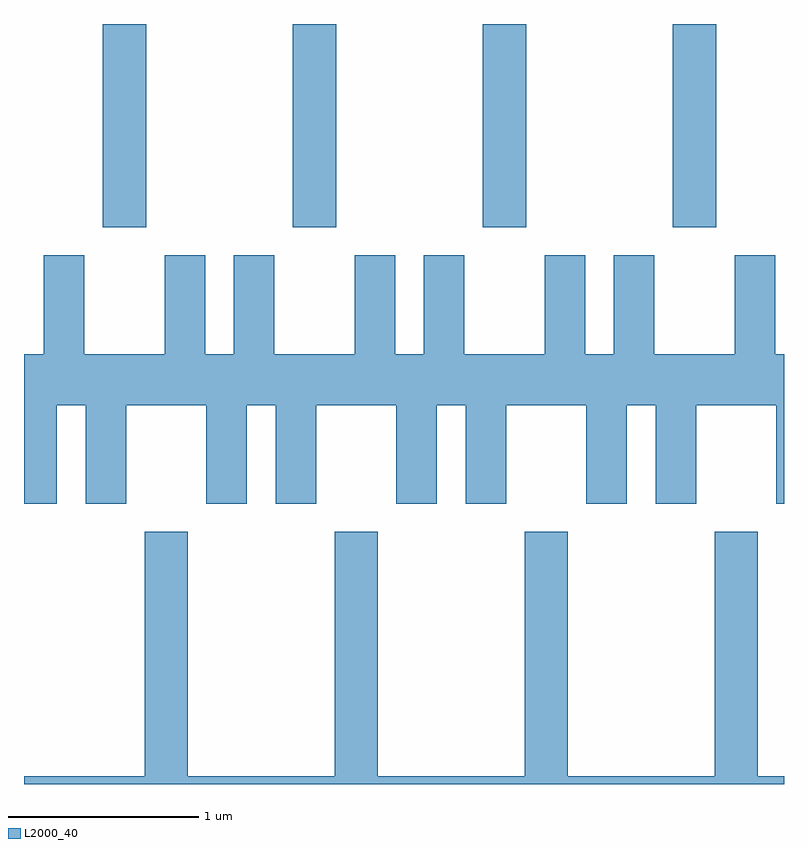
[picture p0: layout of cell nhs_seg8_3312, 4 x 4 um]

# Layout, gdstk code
import gdstk
lib = gdstk.Library(unit=1e-6, precision=1e-09)
def R(c, l, rs):  # rectangles x0, y0, x1, y1
    for r in rs: c.add(gdstk.rectangle(r[:2], r[2:], *l))
def A(c, l, x, y, w, h, nx, ny, dx, dy):  # array of equal rectangles
    R(c, l, [(x+i*dx, y+j*dy, x+i*dx+w, y+j*dy+h) for i in range(nx) for j in range(ny)])
def P(c, l, *ps):  # polygons
    for p in ps: c.add(gdstk.Polygon(p, *l))
L2000_40 = (2000, 40)

nhs_seg8_3312 = lib.new_cell('nhs_seg8_3312')
A(nhs_seg8_3312, L2000_40, 284.026, 1917.271, 0.228, 1.071, 4, 1, 1, 0)
P(nhs_seg8_3312, L2000_40, [(283.929,1917.124),(283.716,1917.124),(283.716,1916.604),(283.611,1916.604),(283.611,1915.816),(283.784,1915.816),(283.784,1916.336),(283.936,1916.336),(283.936,1915.816),(284.149,1915.816),(284.149,1916.336),(284.571,1916.336),(284.571,1915.816),(284.784,1915.816),(284.784,1916.336),(284.936,1916.336),(284.936,1915.816),(285.149,1915.816),(285.149,1916.336),(285.571,1916.336),(285.571,1915.816),(285.784,1915.816),(285.784,1916.336),(285.936,1916.336),(285.936,1915.816),(286.149,1915.816),(286.149,1916.336),(286.571,1916.336),(286.571,1915.816),(286.784,1915.816),(286.784,1916.336),(286.936,1916.336),(286.936,1915.816),(287.149,1915.816),(287.149,1916.336),(287.571,1916.336),(287.571,1915.816),(287.611,1915.816),(287.611,1916.604),(287.564,1916.604),(287.564,1917.124),(287.351,1917.124),(287.351,1916.604),(286.929,1916.604),(286.929,1917.124),(286.716,1917.124),(286.716,1916.604),(286.564,1916.604),(286.564,1917.124),(286.351,1917.124),(286.351,1916.604),(285.929,1916.604),(285.929,1917.124),(285.716,1917.124),(285.716,1916.604),(285.564,1916.604),(285.564,1917.124),(285.351,1917.124),(285.351,1916.604),(284.929,1916.604),(284.929,1917.124),(284.716,1917.124),(284.716,1916.604),(284.564,1916.604),(284.564,1917.124),(284.351,1917.124),(284.351,1916.604),(283.929,1916.604)],
  [(286.474,1915.669),(286.246,1915.669),(286.246,1914.384),(285.474,1914.384),(285.474,1915.669),(285.246,1915.669),(285.246,1914.384),(284.474,1914.384),(284.474,1915.669),(284.246,1915.669),(284.246,1914.384),(283.611,1914.384),(283.611,1914.342),(287.611,1914.342),(287.611,1914.384),(287.474,1914.384),(287.474,1915.669),(287.246,1915.669),(287.246,1914.384),(286.474,1914.384)])

lib.write_gds('nhs_seg8_3312.gds')
